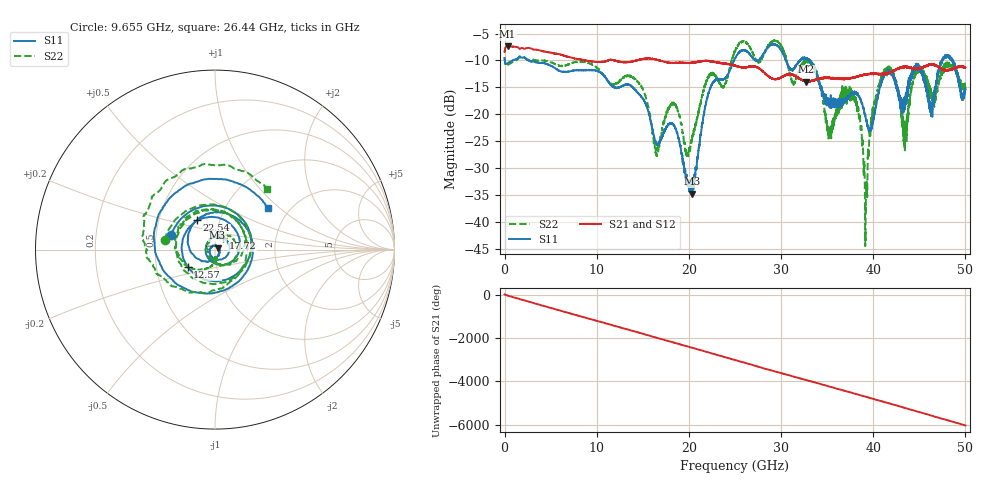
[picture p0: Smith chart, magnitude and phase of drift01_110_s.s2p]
!Created with skrf (http://scikit-rf.org).
# Hz S RI R 50.0
!freq ReS11 ImS11 ReS21 ImS21 ReS12 ImS12 ReS22 ImS22
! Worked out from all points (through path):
!   10001 points, 300 kHz to 50 GHz, reference 50 ohm
!   highest |S21| = -7.33 dB at 320.3 MHz (marker M1); lowest = -14.0 dB at 32.76 GHz (marker M2)
!   group delay of S21, straight-line fit = 335 ps
!   lowest |S11| = -34.8 dB at 20.33 GHz (marker M3), VSWR 1.04, Z = 51.4 + j1.19 ohm
!   |S11| at or under -10 dB: 2.554 GHz to 24.9 GHz (22.35 GHz wide, 163 % of centre); 30.53 GHz to 32.02 GHz (1.486 GHz wide, 4.75 % of centre); 33.07 GHz to 47.44 GHz (14.37 GHz wide, 35.7 % of centre) (the widest 3 of 19)
!   |S22| runs from -44.5 to -6.3 dB; largest |S21 - S12| = 0.01
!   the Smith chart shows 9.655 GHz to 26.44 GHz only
!   S11 on the Smith chart (normalised r, x): 9.655 GHz: 0.60, +0.10; 12.57 GHz: 0.72, -0.15; 17.72 GHz: 1.09, +0.14; 22.54 GHz: 0.78, +0.26; 26.44 GHz: 1.55, +0.84
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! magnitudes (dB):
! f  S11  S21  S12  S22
! 300 kHz  -9.5  -8.4  -8.5  -9.5
! 320.3 MHz  -10.5  -7.3  -7.3  -10.9
! 8.335 GHz  -11.8  -9.8  -9.8  -10.2
! 9.655 GHz  -11.8  -10.2  -10.2  -10.9
! 12.57 GHz  -14.9  -10.3  -10.3  -13.7
! 16.67 GHz  -25.7  -9.9  -9.9  -27.1
! 17.72 GHz  -22.0  -10.4  -10.4  -18.9
! 20.33 GHz  -34.8  -10.4  -10.4  -24.5
! 22.54 GHz  -14.3  -10.2  -10.2  -12.3
! 25 GHz  -9.6  -11.0  -11.0  -8.3
! 26.44 GHz  -8.5  -11.2  -11.2  -7.0
! 32.76 GHz  -9.6  -14.0  -13.8  -10.3
! 33.34 GHz  -10.7  -13.8  -13.7  -10.6
! 35.25 GHz  -18.0  -13.2  -13.3  -23.1
! 37.99 GHz  -15.8  -13.1  -13.1  -17.4
! 39.17 GHz  -20.6  -12.6  -12.6  -41.4
! 40.14 GHz  -19.8  -12.5  -12.5  -17.8
! 41.67 GHz  -12.0  -12.3  -12.4  -11.9
! 43.44 GHz  -16.8  -11.2  -11.2  -26.6
! 44.87 GHz  -11.1  -11.5  -11.5  -11.7
! 46.27 GHz  -20.3  -10.7  -10.7  -16.6
! 50 GHz  -15.4  -11.3  -11.3  -14.9
